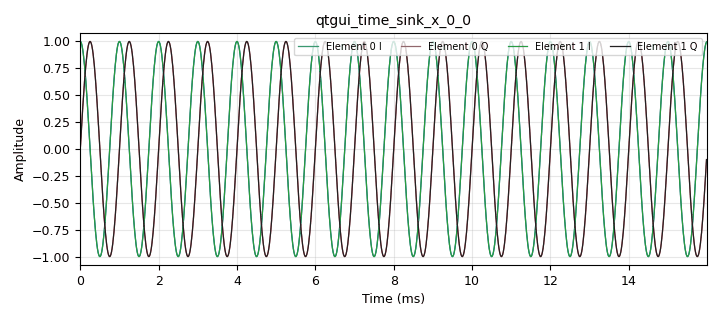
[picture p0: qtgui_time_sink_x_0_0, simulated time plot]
options:
  parameters:
    author: Bima Pancara
    generate_options: qt_gui
    id: incidentWave
    output_language: python
    title: Simulate Incident Wave
  states: {}

blocks:
- name: array_space
  id: variable
  parameters:
    value: 0.5*wavelength
  states: {}
- name: c
  id: variable
  parameters:
    value: 3e8
  states: {}
- name: freq
  id: variable
  parameters:
    value: 5e9
  states: {}
- name: incident_wave
  id: variable_qtgui_range
  parameters:
    label: Angle of Incident
    start: '-90'
    step: '5'
    stop: '90'
    value: '0'
  states: {}
- name: phi0
  id: variable
  parameters:
    value: 0 * ((360 * array_space / wavelength) * np.sin(np.deg2rad(incident_wave)))
  states: {}
- name: phi1
  id: variable
  parameters:
    value: 1 * ((360 * array_space / wavelength) * np.sin(np.deg2rad(incident_wave)))
  states: {}
- name: phi2
  id: variable
  parameters:
    value: 2 * ((360 * array_space / wavelength) * np.sin(np.deg2rad(incident_wave)))
  states: {state: disabled}
- name: samp_rate
  id: variable
  parameters:
    value: 64e3
  states: {}
- name: wavelength
  id: variable
  parameters:
    value: c/freq
  states: {}
- name: analog_sig_source_x_0
  id: analog_sig_source_x
  parameters:
    amp: '1'
    freq: '1000'
    offset: '0'
    phase: '0'
    samp_rate: samp_rate
    type: complex
    waveform: analog.GR_COS_WAVE
  states: {}
- name: analog_sig_source_x_0_0
  id: analog_sig_source_x
  parameters:
    amp: '1'
    freq: '1000'
    offset: '0'
    phase: '0'
    samp_rate: samp_rate
    type: complex
    waveform: analog.GR_COS_WAVE
  states: {}
- name: analog_sig_source_x_0_0_0
  id: analog_sig_source_x
  parameters:
    amp: '1'
    freq: '1000'
    offset: '0'
    phase: '0'
    samp_rate: samp_rate
    type: complex
    waveform: analog.GR_COS_WAVE
  states: {state: disabled}
- name: blocks_phase_shift_0
  id: blocks_phase_shift
  parameters:
    is_radians: 'False'
    shift: phi0
  states: {}
- name: blocks_phase_shift_0_0
  id: blocks_phase_shift
  parameters:
    is_radians: 'False'
    shift: phi1
  states: {}
- name: blocks_phase_shift_0_0_0
  id: blocks_phase_shift
  parameters:
    is_radians: 'False'
    shift: phi2
  states: {state: disabled}
- name: blocks_throttle2_0
  id: blocks_throttle2
  parameters:
    samples_per_second: samp_rate
    type: complex
  states: {}
- name: blocks_throttle2_0_0
  id: blocks_throttle2
  parameters:
    samples_per_second: samp_rate
    type: complex
  states: {}
- name: blocks_throttle2_0_0_0
  id: blocks_throttle2
  parameters:
    samples_per_second: samp_rate
    type: complex
  states: {state: disabled}
- name: import_0
  id: import
  parameters:
    imports: import numpy as np
  states: {}
- name: qtgui_time_sink_x_0
  id: qtgui_time_sink_x
  parameters:
    color2: green
    label1: Element 0 I
    label2: Element 0 Q
    label3: Element 1 I
    label4: Element 1 Q
    label5: Element 2 I
    label6: Element 2 Q
    nconnections: '3'
    size: '1024'
    srate: samp_rate
    type: complex
  states: {state: disabled}
- name: qtgui_time_sink_x_0_0
  id: qtgui_time_sink_x
  parameters:
    color2: green
    label1: Element 0 I
    label2: Element 0 Q
    label3: Element 1 I
    label4: Element 1 Q
    nconnections: '2'
    size: '1024'
    srate: samp_rate
    type: complex
  states: {}
- name: zeromq_pub_sink_0
  id: zeromq_pub_sink
  parameters:
    address: tcp://127.0.0.1:49200
    timeout: '100'
    type: complex
  states: {}
- name: zeromq_pub_sink_1
  id: zeromq_pub_sink
  parameters:
    address: tcp://127.0.0.1:49202
    timeout: '100'
    type: complex
  states: {}
- name: zeromq_pub_sink_2
  id: zeromq_pub_sink
  parameters:
    address: tcp://127.0.0.1:49204
    timeout: '100'
    type: complex
  states: {state: disabled}

connections:
- [analog_sig_source_x_0, '0', blocks_phase_shift_0, '0']
- [analog_sig_source_x_0_0, '0', blocks_phase_shift_0_0, '0']
- [analog_sig_source_x_0_0_0, '0', blocks_phase_shift_0_0_0, '0']
- [blocks_phase_shift_0, '0', blocks_throttle2_0, '0']
- [blocks_phase_shift_0_0, '0', blocks_throttle2_0_0, '0']
- [blocks_phase_shift_0_0_0, '0', blocks_throttle2_0_0_0, '0']
- [blocks_throttle2_0, '0', qtgui_time_sink_x_0, '0']
- [blocks_throttle2_0, '0', qtgui_time_sink_x_0_0, '0']
- [blocks_throttle2_0, '0', zeromq_pub_sink_0, '0']
- [blocks_throttle2_0_0, '0', qtgui_time_sink_x_0, '1']
- [blocks_throttle2_0_0, '0', qtgui_time_sink_x_0_0, '1']
- [blocks_throttle2_0_0, '0', zeromq_pub_sink_1, '0']
- [blocks_throttle2_0_0_0, '0', qtgui_time_sink_x_0, '2']
- [blocks_throttle2_0_0_0, '0', zeromq_pub_sink_2, '0']

metadata:
  file_format: 1
  grc_version: 3.10.12.0
